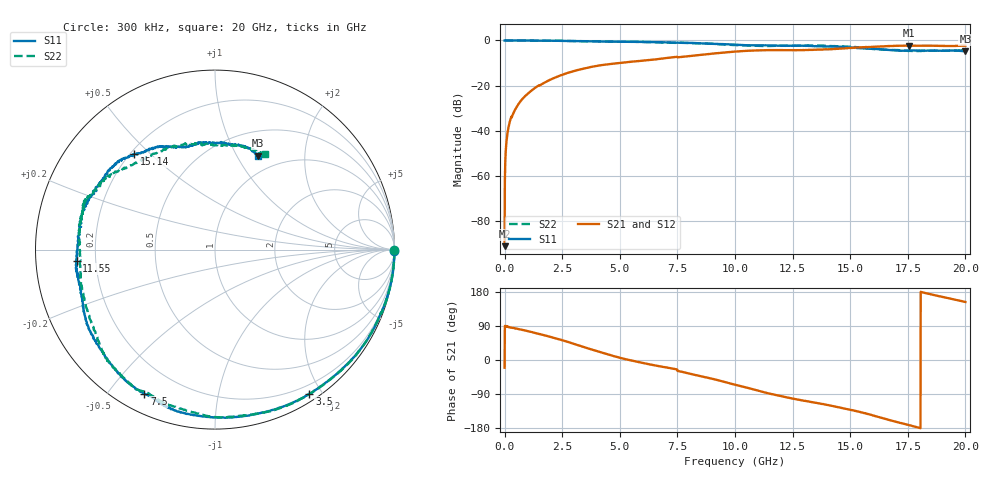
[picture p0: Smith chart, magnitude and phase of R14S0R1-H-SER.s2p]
!{R14S0R1}
!Johanson Technology Inc.
!www.johansontechnology.com
!Test Board Conditions:
!Substrate Type  RO4350B
!Substrate Thickness  20 mil
!Substrate Dk  3.66
!TL Type: GCPW
!TL Trace Width  36 mil
!TL Gap  12 mil
!Electrode orientation  Horizontal
!DUT TOPOLOGY	SERIES
!Mounting Pad LxW  26x36 mil
! Created Wed Nov 25 17:33:21 2020
! 2 Port Network Data from SP1.SP block
! freq  magS11  angS11  magS21  angS21  magS12  angS12  magS22  angS22
# khz S ma R 50
! decimated to every 10th point (10 MHz spacing) of the original 1 MHz Johanson file; values unchanged
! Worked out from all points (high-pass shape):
!   2001 points, 300 kHz to 20 GHz, reference 50 ohm
!   highest |S21| = -2.29 dB at 17.54 GHz (marker M1); lowest = -91.0 dB at 300 kHz (marker M2)
!   |S21| within 3 dB of the highest: 9.608 GHz to end of sweep
!   lowest |S11| = -4.8 dB at 20 GHz (marker M3), VSWR 3.72, Z = 39.3 + j61.5 ohm
!   |S11| at or under -10 dB: nowhere
!   |S22| runs from -4.7 to 0.0 dB; largest |S21 - S12| = 0.02
!   S11 on the Smith chart (normalised r, x): 300 kHz: open; 3.5 GHz: 0.09, -1.85; 7.5 GHz: 0.08, -0.62; 11.55 GHz: 0.13, -0.04; 15.14 GHz: 0.22, +0.45; 20 GHz: 0.79, +1.23
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300  0.9967 -0.5  2.825e-05 -20.3  0.0001103 118.3  0.9985 -0.3
110300  0.9992 -1.6  0.007745 88.0  0.007778 88.3  1 -1.6
160300  0.9998 -2.3  0.0114 87.4  0.01142 87.1  0.9999 -2.3
300300  0.9996 -4.0  0.0195 85.3  0.01948 85.5  0.9996 -4.0
570300  0.9991 -7.5  0.03717 82.0  0.03725 82.0  0.9989 -7.6
1390300  0.9908 -19.5  0.09437 70.4  0.09474 70.2  0.9931 -19.6
2360300  0.9818 -34.9  0.1639 54.6  0.164 54.5  0.9819 -35.5
3340300  0.9623 -53.6  0.2328 36.1  0.2337 36.1  0.9634 -54.0
3500300  0.9597 -56.7  0.2431 32.9  0.2442 33.0  0.9596 -57.1
4850300  0.9396 -83.0  0.3119 8.4  0.313 8.6  0.9378 -79.8
5820300  0.9292 -98.6  0.3501 -5.5  0.3516 -5.6  0.9295 -92.0
6670300  0.9162 -107.4  0.3881 -15.9  0.3889 -15.6  0.905 -103.1
7500300  0.8946 -116.1  0.4238 -28.5  0.4257 -28.5  0.8947 -119.7
9010300  0.8418 -140.2  0.5115 -49.5  0.5131 -49.9  0.846 -137.5
1.00003e7  0.8069 -155.2  0.5667 -65.2  0.57 -65.1  0.7921 -153.7
1.15503e7  0.7728 -175.4  0.6113 -89.5  0.6147 -89.7  0.7576 176.3
1.33403e7  0.7529 156.6  0.6208 -111.3  0.617 -111.7  0.7728 160.8
1.51403e7  0.6962 130.2  0.6893 -133.2  0.6799 -133.1  0.7136 145.3
1.66703e7  0.6167 112.2  0.7516 -158.0  0.753 -156.6  0.6284 114.6
1.75403e7  0.5956 100.7  0.7686 -171.6  0.7672 -171.5  0.588 96.2
1.88203e7  0.5931 83.5  0.7612 168.9  0.7622 168.8  0.5943 72.0
2e7  0.5759 65.3  0.7678 153.2  0.7672 154.0  0.6005 62.6
